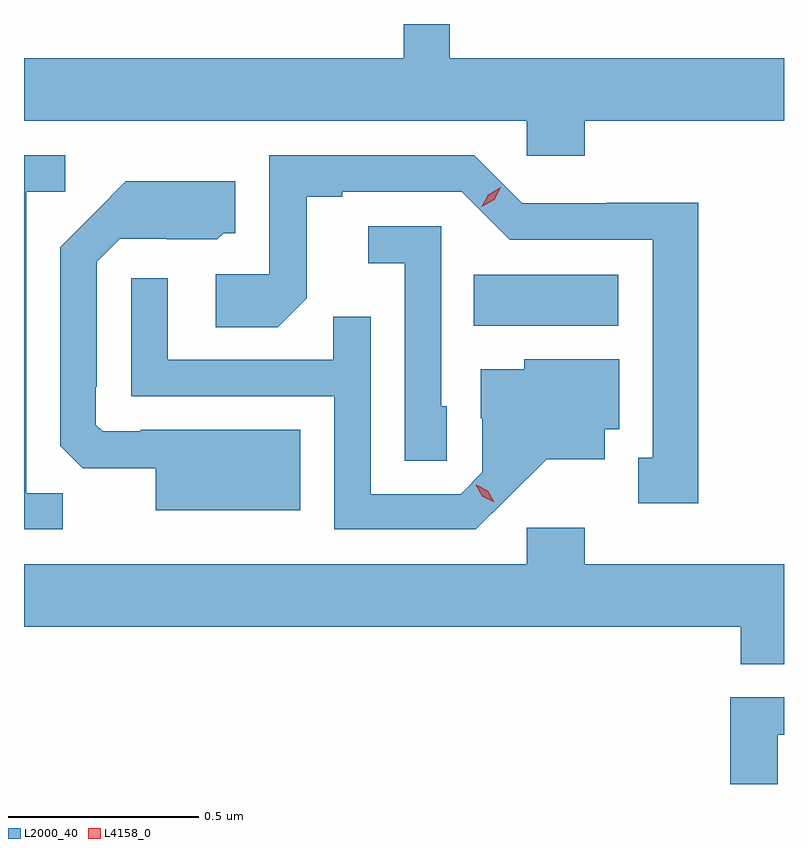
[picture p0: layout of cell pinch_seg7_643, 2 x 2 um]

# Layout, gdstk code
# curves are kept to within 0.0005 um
import gdstk
lib = gdstk.Library(unit=1e-6, precision=1e-09)
def R(c, l, rs):  # rectangles x0, y0, x1, y1
    for r in rs: c.add(gdstk.rectangle(r[:2], r[2:], *l))
def P(c, l, *ps):  # polygons
    for p in ps: c.add(gdstk.Polygon(p, *l))
L2000_40 = (2000, 40)
L4158_0 = (4158, 0)

pinch_seg7_643 = lib.new_cell('pinch_seg7_643')
R(pinch_seg7_643, L2000_40, [(168.892,1037.372,169.273,1037.506)])
P(pinch_seg7_643, L2000_40, [(169.184,1037.912),(169.709,1037.912),(169.709,1038.076),(168.829,1038.076),(168.829,1038.166),(168.708,1038.166),(168.708,1038.076),(167.709,1038.076),(167.709,1037.912),(169.032,1037.912),(169.032,1037.819),(169.184,1037.819)],
  [(169.483,1037.696),(169.242,1037.696),(169.242,1037.694),(169.02,1037.694),(168.894,1037.82),(168.354,1037.82),(168.354,1037.508),(168.213,1037.508),(168.213,1037.368),(168.377,1037.368),(168.453,1037.444),(168.453,1037.712),(168.547,1037.712),(168.547,1037.724),(168.861,1037.724),(168.987,1037.598),(169.364,1037.598),(169.364,1037.025),(169.325,1037.025),(169.325,1036.905),(169.483,1036.905)],
  [(167.811,1036.931),(167.715,1036.931),(167.715,1037.724),(167.818,1037.724),(167.818,1037.82),(167.709,1037.82),(167.709,1036.836),(167.811,1036.836)],
  [(168.436,1037.098),(168.016,1037.098),(168.016,1037.094),(167.916,1037.094),(167.898,1037.112),(167.898,1037.212),(167.901,1037.212),(167.901,1037.541),(167.961,1037.601),(168.084,1037.601),(168.084,1037.6),(168.218,1037.6),(168.234,1037.616),(168.265,1037.616),(168.265,1037.752),(167.977,1037.752),(167.805,1037.578),(167.805,1037.056),(167.864,1036.997),(168.056,1036.997),(168.056,1036.886),(168.436,1036.886)],
  [(168.822,1037.16),(168.807,1037.16),(168.807,1037.634),(168.615,1037.634),(168.615,1037.537),(168.711,1037.537),(168.711,1037.017),(168.822,1037.017)],
  [(168.982,1036.919),(169.085,1037.021),(169.237,1037.021),(169.237,1037.1),(169.276,1037.1),(169.276,1037.284),(169.026,1037.284),(169.026,1037.257),(168.911,1037.257),(168.911,1037.128),(168.915,1037.128),(168.915,1036.986),(168.858,1036.929),(168.621,1036.929),(168.621,1037.396),(168.523,1037.396),(168.523,1037.283),(168.087,1037.283),(168.087,1037.497),(167.991,1037.497),(167.991,1037.187),(168.525,1037.187),(168.525,1036.836),(168.898,1036.836)],
  [(169.709,1036.744),(169.184,1036.744),(169.184,1036.84),(169.032,1036.84),(169.032,1036.744),(167.709,1036.744),(167.709,1036.58),(169.595,1036.58),(169.595,1036.481),(169.709,1036.481)],
  [(169.693,1036.296),(169.709,1036.296),(169.709,1036.394),(169.568,1036.394),(169.568,1036.166),(169.693,1036.166)])
P(pinch_seg7_643, L4158_0, [(168.914,1037.685),(168.914,1037.685),(168.931,1037.717),(168.963,1037.736),(168.963,1037.736),(168.963,1037.736),(168.946,1037.704),(168.914,1037.685)],
  [(168.946,1036.907),(168.915,1036.923),(168.898,1036.953),(168.898,1036.953),(168.899,1036.953),(168.929,1036.938),(168.946,1036.908),(168.946,1036.907)])

lib.write_gds('pinch_seg7_643.gds')
